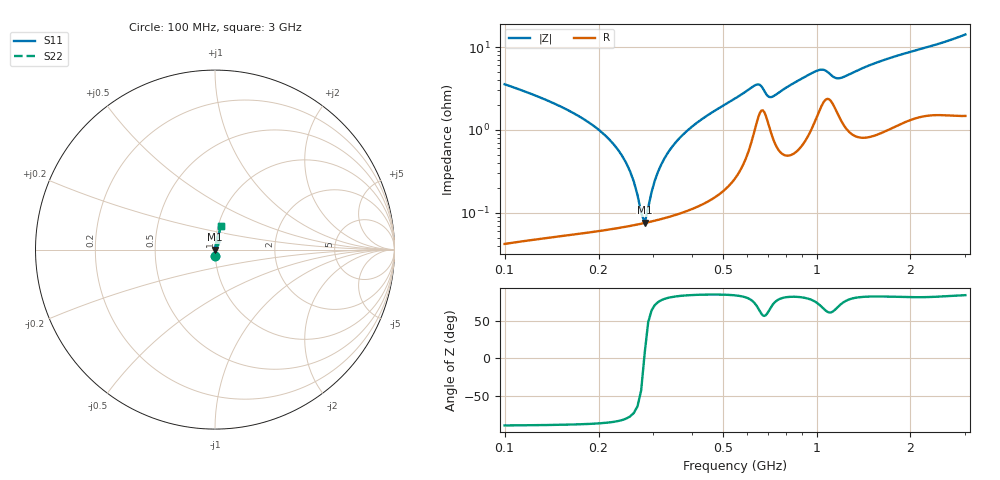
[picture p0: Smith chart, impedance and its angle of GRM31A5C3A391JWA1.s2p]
!Murata Part Number: GRM31A5C3A391JWA1
!These Parameters are Measured in Series Mode Connection
!Data Generated on Mar 30, 2021
!  o--ll--o
!Port1  Port2
!  o------o
!Operation Temp=25[degC], DC Bias Voltage=0[V]
!Freq. Start=100[MHz] Stop=3[GHz] 401[Steps]
# Hz S RI R 50
!Freq.(Hz) S11(Real) S11(Imag) S21(Real) S21(Imag) S12(Real) S12(Imag) S22(Real) S22(Imag)
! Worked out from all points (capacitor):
!   401 points, 100 MHz to 3 GHz, reference 50 ohm
!   read as one part in series: C = 391 pF near 114.5 MHz
!   lowest |Z| = 75.8 mohm at 281.2 MHz (marker M1)
!   series resonance near 280.4 MHz, so ESL is about 820 pH
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1e8  0.00168 -0.0355  0.9983 0.0355  0.9983 0.0355  0.00168 -0.0355
1.725e8  0.000771 -0.0147  0.9992 0.0147  0.9992 0.0147  0.000771 -0.0147
2.16e8  0.000686 -0.00771  0.9993 0.00771  0.9993 0.00771  0.000686 -0.00771
2.45e8  0.000694 -0.00396  0.9993 0.00396  0.9993 0.00396  0.000694 -0.00396
2.6675e8  0.000723 -0.00146  0.9993 0.00146  0.9993 0.00146  0.000723 -0.00146
2.74e8  0.000736 -0.000675  0.9993 0.000675  0.9993 0.000675  0.000736 -0.000675
2.8125e8  0.000751 9.35e-05  0.9992 -9.35e-05  0.9992 -9.35e-05  0.000751 9.35e-05
2.885e8  0.000768 0.000844  0.9992 -0.000844  0.9992 -0.000844  0.000768 0.000844
3.1025e8  0.000828 0.003  0.9992 -0.003  0.9992 -0.003  0.000828 0.003
3.2475e8  0.000876 0.00438  0.9991 -0.00438  0.9991 -0.00438  0.000876 0.00438
3.6825e8  0.00106 0.00827  0.9989 -0.00827  0.9989 -0.00827  0.00106 0.00827
4.48e8  0.00158 0.0149  0.9984 -0.0149  0.9984 -0.0149  0.00158 0.0149
5.8575e8  0.00477 0.0275  0.9952 -0.0275  0.9952 -0.0275  0.00477 0.0275
6.51e8  0.0151 0.0314  0.9849 -0.0314  0.9849 -0.0314  0.0151 0.0314
7.1625e8  0.00942 0.0228  0.9906 -0.0228  0.9906 -0.0228  0.00942 0.0228
9.6275e8  0.0122 0.046  0.9878 -0.046  0.9878 -0.046  0.0122 0.046
1.0715e9  0.0247 0.044  0.9753 -0.044  0.9753 -0.044  0.0247 0.044
1.18025e9  0.0158 0.0382  0.9842 -0.0382  0.9842 -0.0382  0.0158 0.0382
1.55e9  0.0125 0.0625  0.9875 -0.0625  0.9875 -0.0625  0.0125 0.0625
2.03575e9  0.0207 0.0852  0.9793 -0.0852  0.9793 -0.0852  0.0207 0.0852
2.5215e9  0.0265 0.1068  0.9735 -0.1068  0.9735 -0.1068  0.0265 0.1068
3e9  0.0332 0.1343  0.9668 -0.1343  0.9668 -0.1343  0.0332 0.1343
